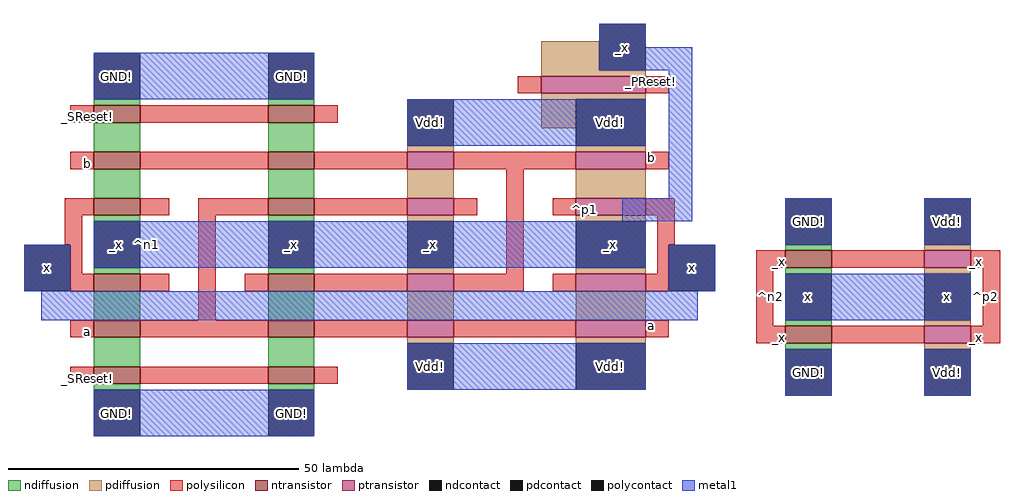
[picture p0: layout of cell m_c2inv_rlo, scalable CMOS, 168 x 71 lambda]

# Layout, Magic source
magic
tech scmos
<< ndiffusion >>
rect -50 17 -42 18
rect -20 17 -12 18
rect -50 9 -42 14
rect -20 9 -12 14
rect -50 1 -42 6
rect -20 1 -12 6
rect -50 -3 -42 -2
rect -50 -12 -42 -11
rect -50 -20 -42 -15
rect -20 -3 -12 -2
rect -20 -12 -12 -11
rect 69 -8 77 -7
rect -20 -20 -12 -15
rect 69 -12 77 -11
rect 69 -21 77 -20
rect -50 -28 -42 -23
rect -20 -28 -12 -23
rect -50 -32 -42 -31
rect -20 -32 -12 -31
rect 69 -25 77 -24
<< pdiffusion >>
rect 27 23 37 28
rect 27 22 45 23
rect 27 18 45 19
rect 27 13 33 18
rect 4 9 12 10
rect 33 9 45 10
rect 4 1 12 6
rect 4 -3 12 -2
rect 4 -12 12 -11
rect 33 1 45 6
rect 33 -3 45 -2
rect 33 -12 45 -11
rect 93 -8 101 -7
rect 4 -20 12 -15
rect 33 -20 45 -15
rect 93 -12 101 -11
rect 93 -21 101 -20
rect 4 -24 12 -23
rect 33 -24 45 -23
rect 93 -25 101 -24
<< ntransistor >>
rect -50 14 -42 17
rect -20 14 -12 17
rect -50 6 -42 9
rect -20 6 -12 9
rect -50 -2 -42 1
rect -20 -2 -12 1
rect -50 -15 -42 -12
rect -20 -15 -12 -12
rect 69 -11 77 -8
rect -50 -23 -42 -20
rect -20 -23 -12 -20
rect -50 -31 -42 -28
rect -20 -31 -12 -28
rect 69 -24 77 -21
<< ptransistor >>
rect 27 19 45 22
rect 4 6 12 9
rect 33 6 45 9
rect 4 -2 12 1
rect 33 -2 45 1
rect 4 -15 12 -12
rect 33 -15 45 -12
rect 93 -11 101 -8
rect 4 -23 12 -20
rect 33 -23 45 -20
rect 93 -24 101 -21
<< polysilicon >>
rect 23 19 27 22
rect 45 19 49 22
rect -54 14 -50 17
rect -42 14 -20 17
rect -12 14 -8 17
rect -54 6 -50 9
rect -42 6 -20 9
rect -12 6 4 9
rect 12 6 33 9
rect 45 6 49 9
rect -55 -2 -50 1
rect -42 -2 -37 1
rect -32 -2 -20 1
rect -12 -2 4 1
rect 12 -2 16 1
rect -55 -7 -52 -2
rect -54 -12 -52 -7
rect -54 -15 -50 -12
rect -42 -15 -37 -12
rect -32 -20 -29 -2
rect 21 -12 24 6
rect 29 -2 33 1
rect 45 -2 50 1
rect 47 -7 50 -2
rect 47 -12 49 -7
rect -24 -15 -20 -12
rect -12 -15 4 -12
rect 12 -15 24 -12
rect 29 -15 33 -12
rect 45 -15 49 -12
rect 64 -11 69 -8
rect 77 -11 93 -8
rect 101 -11 106 -8
rect -54 -23 -50 -20
rect -42 -23 -20 -20
rect -12 -23 4 -20
rect 12 -23 33 -20
rect 45 -23 49 -20
rect 64 -21 67 -11
rect 103 -21 106 -11
rect -54 -31 -50 -28
rect -42 -31 -20 -28
rect -12 -31 -8 -28
rect 64 -24 69 -21
rect 77 -24 93 -21
rect 101 -24 106 -21
<< ndcontact >>
rect -50 18 -42 26
rect -20 18 -12 26
rect -50 -11 -42 -3
rect -20 -11 -12 -3
rect 69 -7 77 1
rect 69 -20 77 -12
rect -50 -40 -42 -32
rect -20 -40 -12 -32
rect 69 -33 77 -25
<< pdcontact >>
rect 37 23 45 31
rect 4 10 12 18
rect 33 10 45 18
rect 4 -11 12 -3
rect 33 -11 45 -3
rect 93 -7 101 1
rect 93 -20 101 -12
rect 4 -32 12 -24
rect 33 -32 45 -24
rect 93 -33 101 -25
<< polycontact >>
rect -62 -15 -54 -7
rect 49 -15 57 -7
<< metal1 >>
rect 37 27 45 31
rect -50 18 -12 26
rect 37 23 53 27
rect 4 10 45 18
rect 49 1 53 23
rect 41 -3 53 1
rect -62 -15 -54 -7
rect -50 -11 45 -3
rect 69 -7 77 1
rect 93 -7 101 1
rect 49 -15 57 -7
rect -59 -20 54 -15
rect 69 -20 101 -12
rect 4 -32 45 -24
rect -50 -40 -12 -32
rect 69 -33 77 -25
rect 93 -33 101 -25
<< labels >>
rlabel metal1 8 14 8 14 5 Vdd!
rlabel metal1 8 -28 8 -28 1 Vdd!
rlabel polysilicon -51 7 -51 7 3 b
rlabel polysilicon -51 -22 -51 -22 3 a
rlabel polysilicon 46 -21 46 -21 7 a
rlabel polysilicon 46 8 46 8 7 b
rlabel metal1 39 14 39 14 5 Vdd!
rlabel metal1 39 -28 39 -28 1 Vdd!
rlabel metal1 -16 22 -16 22 5 GND!
rlabel metal1 -46 22 -46 22 5 GND!
rlabel polysilicon -51 15 -51 15 1 _SReset!
rlabel metal1 -16 -36 -16 -36 1 GND!
rlabel metal1 -46 -36 -46 -36 1 GND!
rlabel polysilicon -51 -30 -51 -30 1 _SReset!
rlabel metal1 53 -11 53 -11 1 x
rlabel metal1 -58 -11 -58 -11 1 x
rlabel metal1 -46 -7 -46 -7 1 _x
rlabel metal1 -16 -7 -16 -7 1 _x
rlabel metal1 8 -7 8 -7 1 _x
rlabel metal1 39 -7 39 -7 1 _x
rlabel ndcontact 73 -16 73 -16 1 x
rlabel pdcontact 97 -16 97 -16 1 x
rlabel ndcontact 73 -29 73 -29 1 GND!
rlabel pdcontact 97 -29 97 -29 1 Vdd!
rlabel pdcontact 97 -3 97 -3 5 Vdd!
rlabel ndcontact 73 -3 73 -3 5 GND!
rlabel polysilicon 68 -10 68 -10 1 _x
rlabel polysilicon 68 -23 68 -23 1 _x
rlabel polysilicon 102 -10 102 -10 1 _x
rlabel polysilicon 102 -23 102 -23 1 _x
rlabel space 63 -34 70 2 7 ^n2
rlabel space 100 -34 107 2 3 ^p2
rlabel space -63 -41 -19 27 7 ^n1
rlabel space 11 -34 58 32 3 ^p1
rlabel polysilicon 46 21 46 21 7 _PReset!
rlabel metal1 41 27 41 27 5 _x
<< end >>
